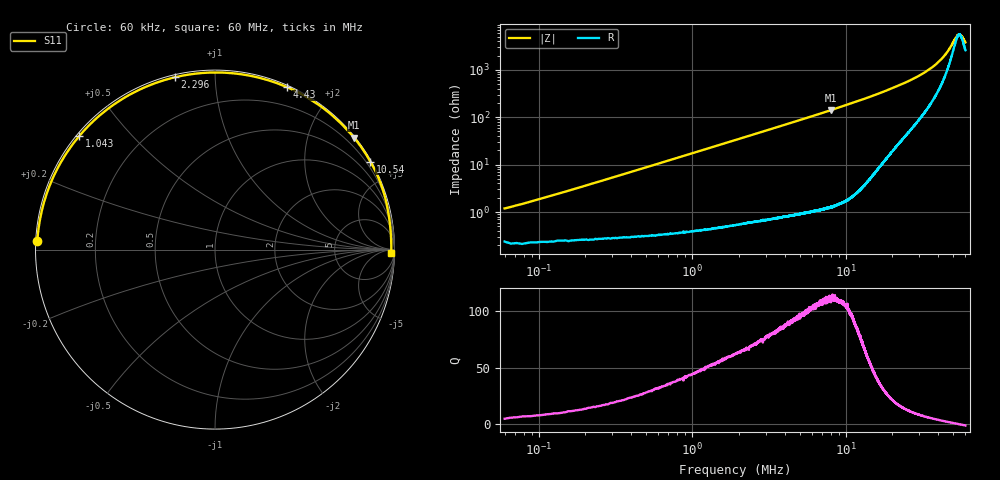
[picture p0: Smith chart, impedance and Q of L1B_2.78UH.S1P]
!Keysight Technologies,E5063A,MY54100949,A.07.30
!Date: Wed Dec 31 03:27:39 2025
!Data & Calibration Information:
!Freq	S11:SOLT1(ON)
# Hz S RI R 50
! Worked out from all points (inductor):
!   10001 points, 60 kHz to 60 MHz, reference 50 ohm
!   read as one part to ground: L = 2.78 uH near 359.7 kHz
!   highest Q = 112 at 8.044 MHz (marker M1), where L = 2.81 uH
!   self-resonance near 54.8 MHz
!   S11 on the Smith chart (normalised r, x): 60 kHz: 0.00, +0.02; 1.043 MHz: 0.01, +0.36; 2.296 MHz: 0.01, +0.79; 4.43 MHz: 0.02, +1.54; 10.54 MHz: 0.04, +3.80; 60 MHz: 51, -55
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60000  -0.9895 0.0461
257802  -0.9729 0.1789
521538  -0.9244 0.3489
785274  -0.8495 0.502
1043016  -0.7569 0.6317
1342716  -0.6341 0.7543
1642416  -0.5032 0.8472
1954104  -0.3664 0.9148
2295762  -0.2226 0.96
2769288  -0.0417 0.9858
3332724  0.1403 0.9778
3866190  0.281 0.9481
4429626  0.4009 0.9053
5088966  0.511 0.8492
5820234  0.6041 0.7871
6635418  0.6822 0.7218
7552500  0.7472 0.6555
8044008  0.7748 0.6234
1.054351e7  0.866 0.4899
1.268336e7  0.9074 0.4068
1.5045e7  0.9338 0.3373
1.849155e7  0.9544 0.2635
2.25375e7  0.9662 0.2029
3.003e7  0.976 0.1289
3.75225e7  0.98 0.0789
4.5015e7  0.9818 0.0407
5.25075e7  0.9822 0.00887
6e7  0.9817 -0.0191
